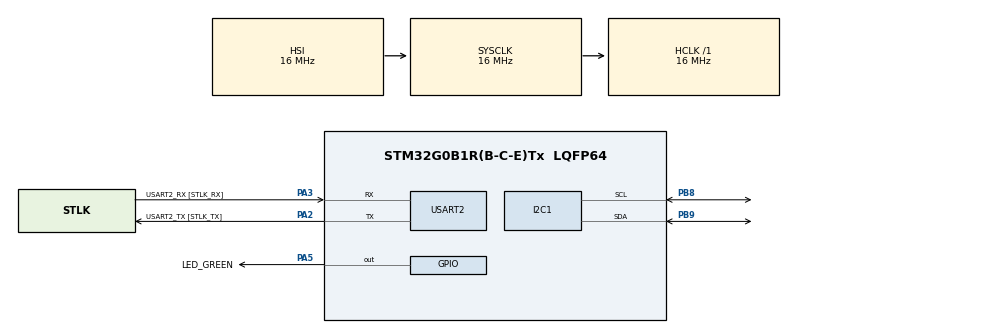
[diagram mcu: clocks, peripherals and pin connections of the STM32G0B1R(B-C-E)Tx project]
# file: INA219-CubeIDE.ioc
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Mcu.Family=STM32G0
Mcu.Name=STM32G0B1R(B-C-E)Tx
Mcu.Package=LQFP64
PA13.GPIO_Label=TMS
PA13.Mode=Serial_Wire
PA13.Signal=SYS_SWDIO
PA14-BOOT0.GPIO_Label=TCK
PA14-BOOT0.Mode=Serial_Wire
PA14-BOOT0.Signal=SYS_SWCLK
PA2.GPIO_Label=USART2_TX [STLK_TX]
PA2.Mode=Asynchronous
PA2.Signal=USART2_TX
PA3.GPIO_Label=USART2_RX [STLK_RX]
PA3.Mode=Asynchronous
PA3.Signal=USART2_RX
PA5.GPIO_Label=LED_GREEN
PA5.GPIO_Speed=GPIO_SPEED_FREQ_HIGH
PA5.Signal=GPIO_Output
PB8.GPIO_Pu=GPIO_PULLUP
PB8.GPIO_Speed=GPIO_SPEED_FREQ_HIGH
PB8.Mode=I2C
PB8.Signal=I2C1_SCL
PB9.GPIO_Pu=GPIO_PULLUP
PB9.GPIO_Speed=GPIO_SPEED_FREQ_HIGH
PB9.Mode=I2C
PB9.Signal=I2C1_SDA
PC13.Mode=SYS_WakeUp1
PC13.Signal=SYS_WKUP2
PC14-OSC32_IN\ (PC14).Mode=LSE-External-Oscillator
PC14-OSC32_IN\ (PC14).Signal=RCC_OSC32_IN
PC15-OSC32_OUT\ (PC15).Mode=LSE-External-Oscillator
PC15-OSC32_OUT\ (PC15).Signal=RCC_OSC32_OUT
PF0-OSC_IN\ (PF0).GPIO_Label=MCO
PF0-OSC_IN\ (PF0).Mode=HSE-External-Clock-Source
PF0-OSC_IN\ (PF0).Signal=RCC_OSC_IN
ProjectManager.HeapSize=0x200
ProjectManager.StackSize=0x400
ProjectManager.TargetToolchain=STM32CubeIDE
RCC.AHBFreq_Value=16000000
RCC.CortexFreq_Value=16000000
RCC.EXTERNAL_CLOCK_VALUE=12288000
RCC.HCLKFreq_Value=16000000
RCC.HSE_VALUE=8000000
RCC.HSI48_VALUE=48000000
RCC.HSI_VALUE=16000000
RCC.SYSCLKFreq_VALUE=16000000
RCC.USBFreq_Value=48000000
RCC.VCOOutputFreq_Value=128000000
USART2.VirtualMode-Asynchronous=VM_ASYNC
VP_SYS_VS_DBSignals.Mode=DisableDeadBatterySignals
board=NUCLEO-G0B1RE

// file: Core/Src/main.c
/* USER CODE BEGIN Header */
/**
  ******************************************************************************
  * @file           : main.c
  * @brief          : Main program body
  ******************************************************************************
  * @attention
  *
  * Copyright (c) 2024 STMicroelectronics.
  * All rights reserved.
  *
  * This software is licensed under terms that can be found in the LICENSE file
  * in the root directory of this software component.
  * If no LICENSE file comes with this software, it is provided AS-IS.
  *
  ******************************************************************************
  */
/* USER CODE END Header */
#include "main.h"

/* USER CODE BEGIN Includes */
#include <stdio.h>
#include <stdarg.h>

#include "ina219.h"
/* USER CODE END Includes */

/* USER CODE BEGIN PD */
#define INA219_I2C_DEV_ADDR 0x40
/* USER CODE END PD */

/* USER CODE BEGIN PM */
INA219_I2C_DEVICE_DEFINE(current_sensor, "INA219")
/* USER CODE END PM */

I2C_HandleTypeDef hi2c1;

UART_HandleTypeDef huart2;

/* USER CODE BEGIN PV */
uint8_t debug_buf[100];
/* USER CODE END PV */

void SystemClock_Config(void);
static void MX_GPIO_Init(void);
static void MX_I2C1_Init(void);
static void MX_USART2_UART_Init(void);
/* USER CODE BEGIN PFP */
static EMBEDD_RESULT ina219_bus_write(const struct embedd_device_t* dev, const uint8_t* data_ptr, uint32_t data_size);
static EMBEDD_RESULT ina219_bus_read(const struct embedd_device_t* dev, uint8_t* data_ptr, uint32_t data_size);

static void debug(const char *format, ...) __attribute__ ((format (printf, 1, 2)));
/* USER CODE END PFP */

/* USER CODE BEGIN 0 */
static embedd_bus_t ina219_bus = { .write = ina219_bus_write, .read = ina219_bus_read };
/* USER CODE END 0 */

int main(void)
{

  /* MCU Configuration--------------------------------------------------------*/

  /* Reset of all peripherals, Initializes the Flash interface and the Systick. */
  HAL_Init();

  /* Configure the system clock */
  SystemClock_Config();

  /* Initialize all configured peripherals */
  MX_GPIO_Init();
  MX_I2C1_Init();
  MX_USART2_UART_Init();
  /* USER CODE BEGIN 2 */
  // device's bus initialization
  current_sensor.bus = &ina219_bus;

  embedd_i2c_dev_cfg_t current_sensor_cfg = {.addr = INA219_I2C_DEV_ADDR};
  embedd_i2c_set_dev_config( &current_sensor, &current_sensor_cfg );
  /* USER CODE END 2 */

  /* Infinite loop */
  /* USER CODE BEGIN WHILE */
  while (1)
  {
	  // Variables to store register values
	  uint16_t config_reg        = 0;
	  uint16_t shunt_voltage_reg = 0;
	  uint16_t bus_voltage_reg   = 0;
	  uint16_t power_reg         = 0;
	  uint16_t current_reg       = 0;
	  uint16_t calibration_reg   = 0;

	  // Read all registers
	  if (INA219_READ_REG( current_sensor, ina219_configuration, config_reg )        == EMBEDD_RESULT_OK &&
	      INA219_READ_REG( current_sensor, ina219_shunt_voltage, shunt_voltage_reg ) == EMBEDD_RESULT_OK &&
	  	  INA219_READ_REG( current_sensor, ina219_bus_voltage,   bus_voltage_reg )   == EMBEDD_RESULT_OK &&
	   	  INA219_READ_REG( current_sensor, ina219_power,         power_reg )         == EMBEDD_RESULT_OK &&
	   	  INA219_READ_REG( current_sensor, ina219_current,       current_reg )       == EMBEDD_RESULT_OK &&
	   	  INA219_READ_REG( current_sensor, ina219_calibration,   calibration_reg )   == EMBEDD_RESULT_OK)
	  {
	    /* USER CODE BEGIN IN CASE OF SUCCESS */
		  debug("Register map:\r\n");
		  debug("  CONFIGURATION     - 0x%04X\r\n", config_reg);
		  debug("  SHUNT_VOLTAGE     - 0x%04X\r\n", shunt_voltage_reg);
		  debug("  BUS_VOLTAGE       - 0x%04X\r\n", bus_voltage_reg);
		  debug("  POWER             - 0x%04X\r\n", power_reg);
		  debug("  CURRENT           - 0x%04X\r\n", current_reg);
		  debug("  CALIBRATION       - 0x%04X\r\n", calibration_reg);
	    /* USER CODE END IN CASE OF SUCCESS */
	  }
	  else
	  {
	    /* USER CODE BEGIN IN CASE OF ERROR */
		  debug("Registers reading error!\r\n");
	    /* USER CODE END IN CASE OF ERROR */
	  }
	  HAL_Delay(5000); // Wait 5 seconds before reading again
    /* USER CODE END WHILE */

  }
}

void SystemClock_Config(void)
{
  RCC_OscInitTypeDef RCC_OscInitStruct = {0};
  RCC_ClkInitTypeDef RCC_ClkInitStruct = {0};

  /** Configure the main internal regulator output voltage
  */
  HAL_PWREx_ControlVoltageScaling(PWR_REGULATOR_VOLTAGE_SCALE1);

  /** Initializes the RCC Oscillators according to the specified parameters
  * in the RCC_OscInitTypeDef structure.
  */
  RCC_OscInitStruct.OscillatorType = RCC_OSCILLATORTYPE_HSI;
  RCC_OscInitStruct.HSIState = RCC_HSI_ON;
  RCC_OscInitStruct.HSIDiv = RCC_HSI_DIV1;
  RCC_OscInitStruct.HSICalibrationValue = RCC_HSICALIBRATION_DEFAULT;
  RCC_OscInitStruct.PLL.PLLState = RCC_PLL_NONE;
  if (HAL_RCC_OscConfig(&RCC_OscInitStruct) != HAL_OK)
  {
    Error_Handler();
  }

  /** Initializes the CPU, AHB and APB buses clocks
  */
  RCC_ClkInitStruct.ClockType = RCC_CLOCKTYPE_HCLK|RCC_CLOCKTYPE_SYSCLK
                              |RCC_CLOCKTYPE_PCLK1;
  RCC_ClkInitStruct.SYSCLKSource = RCC_SYSCLKSOURCE_HSI;
  RCC_ClkInitStruct.AHBCLKDivider = RCC_SYSCLK_DIV1;
  RCC_ClkInitStruct.APB1CLKDivider = RCC_HCLK_DIV1;

  if (HAL_RCC_ClockConfig(&RCC_ClkInitStruct, FLASH_LATENCY_0) != HAL_OK)
  {
    Error_Handler();
  }
}

static void MX_I2C1_Init(void)
{

  hi2c1.Instance = I2C1;
  hi2c1.Init.Timing = 0x00303D5B;
  hi2c1.Init.OwnAddress1 = 0;
  hi2c1.Init.AddressingMode = I2C_ADDRESSINGMODE_7BIT;
  hi2c1.Init.DualAddressMode = I2C_DUALADDRESS_DISABLE;
  hi2c1.Init.OwnAddress2 = 0;
  hi2c1.Init.OwnAddress2Masks = I2C_OA2_NOMASK;
  hi2c1.Init.GeneralCallMode = I2C_GENERALCALL_DISABLE;
  hi2c1.Init.NoStretchMode = I2C_NOSTRETCH_DISABLE;
  if (HAL_I2C_Init(&hi2c1) != HAL_OK)
  {
    Error_Handler();
  }

  /** Configure Analogue filter
  */
  if (HAL_I2CEx_ConfigAnalogFilter(&hi2c1, I2C_ANALOGFILTER_ENABLE) != HAL_OK)
  {
    Error_Handler();
  }

  /** Configure Digital filter
  */
  if (HAL_I2CEx_ConfigDigitalFilter(&hi2c1, 0) != HAL_OK)
  {
    Error_Handler();
  }

}

static void MX_USART2_UART_Init(void)
{

  huart2.Instance = USART2;
  huart2.Init.BaudRate = 115200;
  huart2.Init.WordLength = UART_WORDLENGTH_8B;
  huart2.Init.StopBits = UART_STOPBITS_1;
  huart2.Init.Parity = UART_PARITY_NONE;
  huart2.Init.Mode = UART_MODE_TX_RX;
  huart2.Init.HwFlowCtl = UART_HWCONTROL_NONE;
  huart2.Init.OverSampling = UART_OVERSAMPLING_16;
  huart2.Init.OneBitSampling = UART_ONE_BIT_SAMPLE_DISABLE;
  huart2.Init.ClockPrescaler = UART_PRESCALER_DIV1;
  huart2.AdvancedInit.AdvFeatureInit = UART_ADVFEATURE_NO_INIT;
  if (HAL_UART_Init(&huart2) != HAL_OK)
  {
    Error_Handler();
  }
  if (HAL_UARTEx_SetTxFifoThreshold(&huart2, UART_TXFIFO_THRESHOLD_1_8) != HAL_OK)
  {
    Error_Handler();
  }
  if (HAL_UARTEx_SetRxFifoThreshold(&huart2, UART_RXFIFO_THRESHOLD_1_8) != HAL_OK)
  {
    Error_Handler();
  }
  if (HAL_UARTEx_DisableFifoMode(&huart2) != HAL_OK)
  {
    Error_Handler();
  }

}

static void MX_GPIO_Init(void)
{
  GPIO_InitTypeDef GPIO_InitStruct = {0};

  /* GPIO Ports Clock Enable */
  __HAL_RCC_GPIOC_CLK_ENABLE();
  __HAL_RCC_GPIOF_CLK_ENABLE();
  __HAL_RCC_GPIOA_CLK_ENABLE();
  __HAL_RCC_GPIOB_CLK_ENABLE();

  /*Configure GPIO pin Output Level */
  HAL_GPIO_WritePin(LED_GREEN_GPIO_Port, LED_GREEN_Pin, GPIO_PIN_RESET);

  /*Configure GPIO pin : LED_GREEN_Pin */
  GPIO_InitStruct.Pin = LED_GREEN_Pin;
  GPIO_InitStruct.Mode = GPIO_MODE_OUTPUT_PP;
  GPIO_InitStruct.Pull = GPIO_NOPULL;
  GPIO_InitStruct.Speed = GPIO_SPEED_FREQ_HIGH;
  HAL_GPIO_Init(LED_GREEN_GPIO_Port, &GPIO_InitStruct);

}

/* USER CODE BEGIN 4 */
EMBEDD_RESULT ina219_bus_write(const struct embedd_device_t* dev, const uint8_t* data_ptr, uint32_t data_size)
{
  if( ( dev == NULL ) || ( data_ptr == NULL ) )
  {
    return EMBEDD_RESULT_ERR;
  }

  //Extracting I2C configurations from the device object
  embedd_i2c_dev_cfg_t* dev_cfg = embedd_i2c_get_dev_config( dev );
  if( dev_cfg == NULL )
  {
      return EMBEDD_RESULT_ERR;
  }

  //Writing data to the bus
  HAL_StatusTypeDef status = HAL_I2C_Master_Transmit(&hi2c1, (dev_cfg->addr << 1), (uint8_t*)data_ptr, data_size, 100 );
  if( status != HAL_OK)
  {
      return EMBEDD_RESULT_ERR;
  }

  return EMBEDD_RESULT_OK;
}

EMBEDD_RESULT ina219_bus_read(const struct embedd_device_t* dev, uint8_t* data_ptr, uint32_t data_size)
{
  if( ( dev == NULL ) || ( data_ptr == NULL ) )
  {
      return EMBEDD_RESULT_ERR;
  }

  //Extracting I2C configurations from the device object
  embedd_i2c_dev_cfg_t* dev_cfg = embedd_i2c_get_dev_config( dev );
  if( dev_cfg == NULL ){
      return EMBEDD_RESULT_ERR;
  }

  //Reading data from the bus
  HAL_StatusTypeDef status = HAL_I2C_Master_Receive(&hi2c1, (dev_cfg->addr << 1), data_ptr, data_size, 100 );
  if( status != HAL_OK)
  {
      return EMBEDD_RESULT_ERR;
  }

  return EMBEDD_RESULT_OK;
}

void embedd_hal_sleep( uint32_t mseconds )
{
    HAL_Delay(mseconds);
}

void debug(const char *format, ...)
{
    va_list args;

    va_start(args, format);
    uint16_t debug_msg_size = vsnprintf((char *)debug_buf, sizeof debug_buf, format, args);
    va_end(args);

    HAL_UART_Transmit(&huart2, debug_buf, debug_msg_size, 100);
}
/* USER CODE END 4 */

void Error_Handler(void)
{
  __disable_irq();
  while (1)
  {
  }
}
